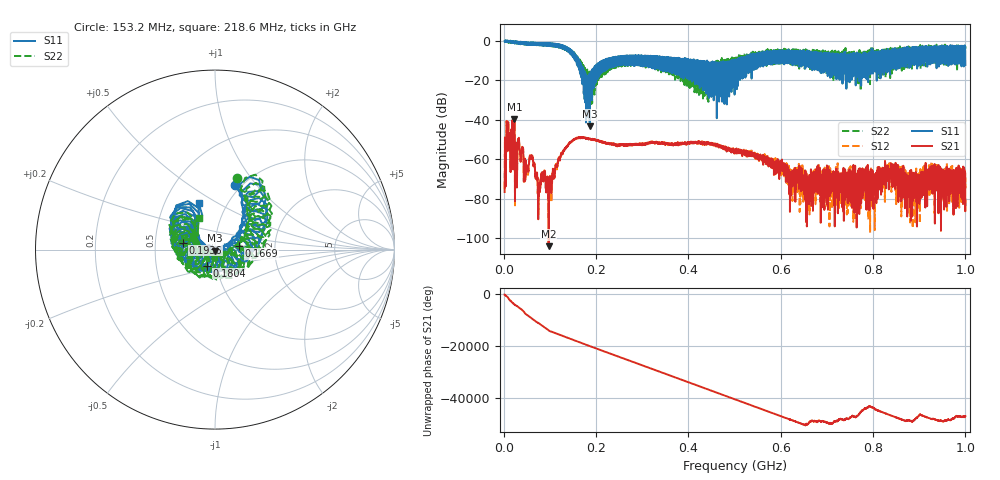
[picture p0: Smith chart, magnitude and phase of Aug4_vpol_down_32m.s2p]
!Keysight Technologies N9923A: A.12.45
!Date: Tuesday, 05 August 2025 20:56:36
!Timezone: (UTC+08:00) Kuala Lumpur, Singapore
!Model: N9923A
!Serial: MY61181427
!GPS Latitude:
!GPS Longitude:
!GPS TimeStamp: 0001-01-01 00:00:00Z
!GPS Seconds Since Last Read: 0
!CHECKSUM:0279463590
!Correction: S11(ON U)S21(ON U)S12(ON U)S22(ON U)
!S2P File: Measurements:S11,S21,S12,S22:
# Hz S DB R 50
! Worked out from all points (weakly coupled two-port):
!   4001 points, 2 MHz to 1 GHz, reference 50 ohm
!   highest |S21| = -39.78 dB at 23.21 MHz (marker M1); lowest = -103.9 dB at 97.31 MHz (marker M2)
!   lowest |S11| = -43.3 dB at 186.4 MHz (marker M3), VSWR 1.01, Z = 50 - j0.685 ohm
!   |S11| at or under -10 dB: 162.8 MHz to 215.5 MHz (52.69 MHz wide, 27.9 % of centre); 420.7 MHz to 440.6 MHz (19.92 MHz wide, 4.63 % of centre); 440.6 MHz to 494 MHz (53.36 MHz wide, 11.4 % of centre)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
!   |S22| runs from -34.0 to 0.2 dB; largest |S21 - S12| = 0.0011
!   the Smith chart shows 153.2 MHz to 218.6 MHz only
!   S11 on the Smith chart (normalised r, x): 153.2 MHz: 0.94, +0.78; 166.9 MHz: 1.31, +0.05; 180.4 MHz: 0.90, -0.16; 193.6 MHz: 0.70, +0.06; 218.6 MHz: 0.73, +0.41
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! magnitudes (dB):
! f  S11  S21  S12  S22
! 2 MHz  -0.1  -76.5  -74.5  -0.1
! 7.739 MHz  -0.6  -55.6  -55.9  -0.5
! 23.21 MHz  -0.6  -39.8  -39.7  -0.5
! 48.41 MHz  -0.9  -63.2  -62.6  -1.1
! 59.88 MHz  -1.7  -58.7  -58.6  -1.9
! 74.36 MHz  -1.7  -77.1  -82.1  -1.6
! 97.31 MHz  -1.2  -103.9  -89.5  -1.4
! 153.2 MHz  -8.5  -49.6  -49.7  -7.6
! 166.9 MHz  -17.4  -49.1  -49.1  -15.4
! 168.4 MHz  -18.6  -48.8  -48.8  -16.0
! 180.4 MHz  -20.0  -49.3  -49.3  -19.6
! 186.4 MHz  -43.3  -49.5  -49.7  -20.6
! 193.6 MHz  -14.8  -50.2  -50.0  -19.1
! 218.6 MHz  -11.1  -51.7  -51.8  -14.1
! 334.8 MHz  -8.0  -52.0  -51.9  -9.9
! 501 MHz  -9.7  -56.5  -56.3  -8.9
! 667.4 MHz  -6.2  -76.3  -76.2  -6.3
! 801.1 MHz  -12.6  -79.2  -71.0  -7.7
! 833.8 MHz  -6.1  -67.1  -62.7  -13.4
! 888.7 MHz  -12.3  -69.0  -74.0  -4.0
! 928.4 MHz  -3.0  -63.2  -67.9  -7.8
! 1 GHz  -12.2  -80.4  -69.2  -4.1
